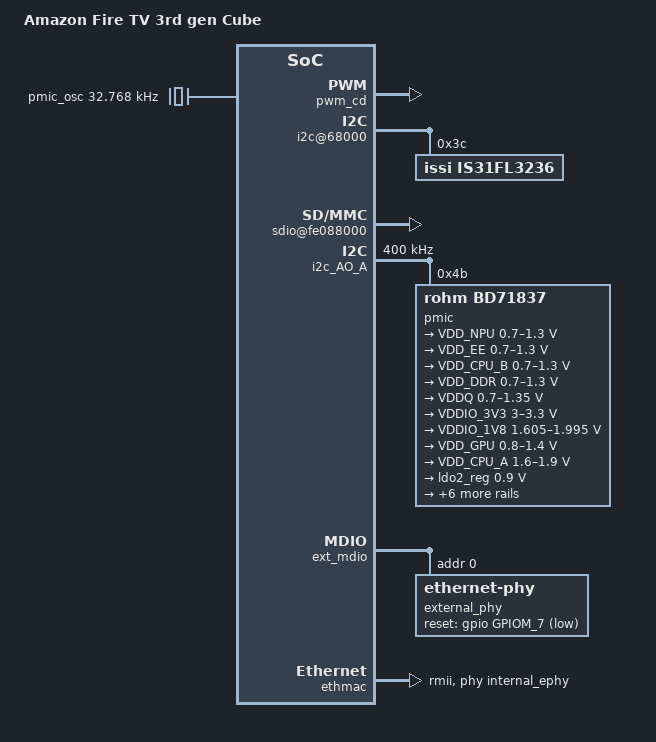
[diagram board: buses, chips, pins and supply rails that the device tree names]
#include "t7_a311d2_an400_drm_hdmitx_only_debian.dts"
#include "coreelec_t7_common.dtsi"

/ {
	model = "Amazon Fire TV 3rd gen Cube";
	coreelec-dt-id = "t7_pop1-g_amazon_3rd_gen_cube";
	amlogic-dt-id = "t7_gazelle_pvt";

	memory@00000000 {
		device_type = "memory";
		linux,usable-memory = <0x00000000 0x00000000 0x00000000 0x80000000>;
	};

	reserved-memory {
		ramoops@0x07400000 {
			reg = <0x00 0x8400000 0x00 0x100000>;
		};

		linux,secmon {
			/delete-property/ size;
			/delete-property/ clear-map;
			/delete-property/ alloc-ranges;
			reg = <0x00 0x5000000 0x00 0x3400000>;
		};

		linux,meson-fb {
			reg = <0x00 0x7f800000 0x00 0x800000>;
		};

		linux,codec_mm_cma {
			/delete-property/ clear-map;
			alloc-ranges = <0x00 0x00 0x00 0x80000000>;
		};

		linux,isp_cma {
			status = "disabled";
			alloc-ranges = <0x00 0x00 0x00 0x80000000>;
		};

		linux,adapt_cma {
			status = "disabled";
			alloc-ranges = <0x00 0x00 0x00 0x80000000>;
		};

		linux,ion-dev {
			alloc-ranges = <0x00 0x00 0x00 0x80000000>;
		};

		linux,ion-fb {
			alloc-ranges = <0x00 0x00 0x00 0x80000000>;
		};

		linux,secure_vdec_reserved {
			alloc-ranges = <0x00 0x00 0x00 0x80000000>;
		};

		linux,vdin1_cma {
			status = "disabled";
			alloc-ranges = <0x00 0x00 0x00 0x80000000>;
		};

		heap-fb {
			size = <0x00 0x1800000>; /* 24 MB */
			alignment = <0x00 0x400000>;
			alloc-ranges = <0x00 0x00 0x00 0x80000000>;
		};

		heap-gfx {
			size = <0x00 0x2000000>; /* 32 MB */
			alignment = <0x00 0x400000>;
			alloc-ranges = <0x00 0x00 0x00 0x80000000>;
		};
	};

	/delete-node/ sdcard-regulator-consumer_3v3;
	/delete-node/ sdcard-regulator-consumer_1v8_3v3;

	pwmao_b-regulator {
		status = "disabled";
	};

	/delete-node/ pwmao_f-regulator;

	pmic_osc: clock-pmic {
		compatible = "fixed-clock";
		#clock-cells = <0>;
		clock-frequency = <32768>;
		clock-output-names = "pmic_osc";
	};

	a73pwm_opp_table0 {
		opp01 {
			opp-hz = /bits/ 64 <666000000>;
		};
	};

	a73pwm_opp_table1 {
		opp01 {
			opp-hz = /bits/ 64 <666000000>;
		};
	};

	a73pwm_opp_table2 {
		opp01 {
			opp-hz = /bits/ 64 <666000000>;
		};
	};

	a73pwm_opp_table3 {
		opp01 {
			opp-hz = /bits/ 64 <666000000>;
		};
	};

	a53pwm_opp_table0 {
		opp01 {
			opp-hz = /bits/ 64 <666000000>;
		};
	};

	a53pwm_opp_table1 {
		opp01 {
			opp-hz = /bits/ 64 <666000000>;
		};
	};

	a53pwm_opp_table2 {
		opp01 {
			opp-hz = /bits/ 64 <666000000>;
		};
	};

	a53pwm_opp_table3 {
		opp01 {
			opp-hz = /bits/ 64 <666000000>;
		};
	};

	a53buck_opp_table0 {
		opp01 {
			opp-hz = /bits/ 64 <666000000>;
		};
	};

	a53buck_opp_table1 {
		opp01 {
			opp-hz = /bits/ 64 <666000000>;
		};
	};

	a53buck_opp_table2 {
		opp01 {
			opp-hz = /bits/ 64 <666000000>;
		};

		opp06 {
			opp-microvolt = <0xc3500>;
		};
	};

	a53buck_opp_table3 {
		opp01 {
			opp-hz = /bits/ 64 <666000000>;
		};
	};

	soc {
		apb4@fe000000 {
			pinctrl@4000 {
				/delete-node/ dvb_s_ts0_pins;
				/delete-node/ dvb_s_ts1_pins;
				/delete-node/ bl_pwm_vs_off_pin;

				pwm_c_pins {
					mux {
						drive-strength-microamp = <0x1f4>;
					};
				};
			};

			pwm_ab: pwm@58000 {
				status = "disabled";
			};

			pwm_cd: pwm@5a000 {
				pinctrl-0 = <&pwm_c_pins>;
				pinctrl-names = "default";
				status = "okay";
			};

			pwmao_ab: pwm@5e000 {
				status = "disabled";
			};

			pwmao_cd: pwm@60000 {
				pinctrl-0 = <&pwm_ao_d_pins &pwm_ao_c_pins2>;
			};

			i2c@68000 {
				status = "okay";

				is31fl3236@3c {
					compatible = "issi,is31fl3236";
					reg = <0x3c>;
					channel-offset = [16];
					rgb_shift = [02];
					#address-cells = <1>;
					#size-cells = <0>;

					led@1 {
						reg = <12>;
						label = "led1";
					};

					led@2 {
						reg = <11>;
						label = "led2";
					};

					led@3 {
						reg = <13>;
						label = "led3";
					};

					led@4 {
						reg = <15>;
						label = "led4";
					};

					led@5 {
						reg = <14>;
						label = "led5";
					};

					led@6 {
						reg = <16>;
						label = "led6";
					};

					led@7 {
						reg = <18>;
						label = "led7";
					};

					led@8 {
						reg = <17>;
						label = "led8";
					};

					led@9 {
						reg = <19>;
						label = "led9";
					};

					led@10 {
						reg = <21>;
						label = "led10";
					};

					led@11 {
						reg = <20>;
						label = "led11";
					};

					led@12 {
						reg = <22>;
						label = "led12";
					};

					led@13 {
						reg = <24>;
						label = "led13";
					};

					led@14 {
						reg = <23>;
						label = "led14";
					};

					led@15 {
						reg = <25>;
						label = "led15";
					};
				};
			};
		};

		mmc@fe08c000 {
			mmc-hs400-1_8v;
		};

		sdio@fe088000 {
			status = "okay";
			/delete-property/ use_intf3_tuning;
		};

		sd@fe08a000 {
			status = "disabled";
			/delete-property/ vmmc-supply;
			/delete-property/ vqmmc-supply;
		};
	};

	aml_wifi {
		interrupt-gpios = <&gpio  GPIOX_6  GPIO_ACTIVE_HIGH>;
		power_on-gpios = <&gpio   GPIOY_14  GPIO_ACTIVE_HIGH>;
	};

	wifi_pwm_conf {
		pwm_channel1_conf {
			pwms = <&pwm_cd  0 30550 0>;
		};

		pwm_channel2_conf {
			pwms = <&pwm_cd 2 30500 0>;
		};
	};

	/delete-node/ bl_pwm_conf;
	/delete-node/ gpio_keypad;
	/delete-node/ bl30_manager;

	meson-remote {
		demod_enable;
	};

	ir_wakeup_key {
		key_num = <0x0c>;
		wakeup_key = <0xb9467d02 0x00 0x74 0xba45bd02 0x00 0x74 0xef10fe01 0x00 0x74 0xef10fb04 0x00 0x74 0xf20dfe01 0x00 0x74 0xe51afb04 0x00 0x74 0xde217788 0x00 0x74 0x3ac5bd02 0x01 0x85 0xb8477788 0x00 0x66 0x9b647788 0x00 0xbc 0x8f707788 0x00 0x1de 0x9c637788 0x00 0xbb>;
	};

	openvfd {
		status = "disabled";
	};

	fb {
		logo_addr = "0x7f800000";
	};
};

&i2c_AO_A {
	clock-frequency = <400000>;
	pinctrl-names = "default";
	pinctrl-0 = <&i2c0_ao_pins1>;
	status = "okay";

	pmic: pmic@4b {
		compatible = "rohm,bd71837";
		reg = <0x4b>;
		clocks = <&pmic_osc>;
		clock-names = "osc";
		clock-output-names = "pmic_clk";
		interrupt-parent = <&gpio_intc>;
		interrupts = <GPIOD_11 GPIO_ACTIVE_LOW>;
		interrupt-names = "irq";
		rohm,reset-snvs-powered;

		regulators {
			VDD_NPU: BUCK1 {
				regulator-name = "VDD_NPU";
				regulator-min-microvolt = <700000>;
				regulator-max-microvolt = <1300000>;
				regulator-boot-on;
				regulator-ramp-delay = <1250>;
				rohm,dvs-run-voltage = <830000>;
				rohm,dvs-idle-voltage = <850000>;
				rohm,dvs-suspend-voltage = <0xc3500>;
				regulator-always-on;
			};

			VDD_EE: BUCK2 {
				regulator-name = "VDD_EE";
				regulator-min-microvolt = <700000>;
				regulator-max-microvolt = <1300000>;
				regulator-boot-on;
				regulator-ramp-delay = <1250>;
				regulator-always-on;
			};

			VDD_CPU_B: BUCK3 {
				regulator-name = "VDD_CPU_B";
				regulator-min-microvolt = <700000>;
				regulator-max-microvolt = <1300000>;
				regulator-boot-on;
				rohm,dvs-run-voltage = <1000000>;
				regulator-always-on;
			};

			VDD_DDR: BUCK4 {
				regulator-name = "VDD_DDR";
				regulator-min-microvolt = <700000>;
				regulator-max-microvolt = <1300000>;
				rohm,dvs-run-voltage = <830000>;
				regulator-always-on;
			};

			VDDQ: BUCK5 {
				regulator-name = "VDDQ";
				regulator-min-microvolt = <700000>;
				regulator-max-microvolt = <1350000>;
				regulator-boot-on;
				regulator-always-on;
			};

			VDDIO_3V3: BUCK6 {
				regulator-name = "VDDIO_3V3";
				regulator-min-microvolt = <3000000>;
				regulator-max-microvolt = <3300000>;
				regulator-boot-on;
				regulator-always-on;
			};

			VDDIO_1V8: BUCK7 {
				regulator-name = "VDDIO_1V8";
				regulator-min-microvolt = <1605000>;
				regulator-max-microvolt = <1995000>;
				regulator-boot-on;
				regulator-always-on;
			};

			VDD_GPU: BUCK8 {
				regulator-name = "VDD_GPU";
				regulator-min-microvolt = <0xc3500>;
				regulator-max-microvolt = <1400000>;
				regulator-boot-on;
				regulator-always-on;
			};

			VDD_CPU_A: LDO1 {
				regulator-name = "VDD_CPU_A";
				regulator-min-microvolt = <1600000>;
				regulator-max-microvolt = <1900000>;
				regulator-boot-on;
				regulator-always-on;
			};

			ldo2_reg: LDO2 {
				regulator-name = "ldo2";
				regulator-min-microvolt = <900000>;
				regulator-max-microvolt = <900000>;
			};

			VDDAO_1V8: LDO3 {
				regulator-name = "VDDAO_1V8";
				regulator-min-microvolt = <1800000>;
				regulator-max-microvolt = <3300000>;
				regulator-boot-on;
				regulator-always-on;
			};

			CAMERA_VDD: LDO4 {
				regulator-name = "CAMERA_VDD";
				regulator-min-microvolt = <900000>;
				regulator-max-microvolt = <1800000>;
			};

			WIFI_BT_VIO: LDO5 {
				regulator-name = "WIFI_BT_VIO";
				regulator-min-microvolt = <1800000>;
				regulator-max-microvolt = <3300000>;
			};

			BUCK8_EXT: LDO6 {
				regulator-name = "BUCK8_EXT";
				regulator-min-microvolt = <900000>;
				regulator-max-microvolt = <1800000>;
				regulator-boot-on;
				regulator-always-on;
			};

			TOUCH_AVDD: LDO7 {
				regulator-name = "TOUCH_AVDD";
				regulator-min-microvolt = <1800000>;
				regulator-max-microvolt = <3300000>;
			};

			BACKLIGHT: MUXSW_EN {
				regulator-name = "BACKLIGHT";
				regulator-min-microvolt = <1800000>;
				regulator-max-microvolt = <1800000>;
				regulator-always-on;
			};
		};
	};
};


&ext_mdio {
	external_phy: ethernet-phy@0 {
		reg = <0>;
		max-speed = <1000>;
		reset-assert-us = <20000>;
		reset-deassert-us = <50000>;
		reset-gpios = <&gpio GPIOM_7 (GPIO_ACTIVE_LOW |GPIO_OPEN_DRAIN)>;
		interrupt-parent = <&gpio_intc>;
		interrupts = <340 IRQ_TYPE_LEVEL_LOW>;
	};
};


&ethmac {
	status = "okay";
	phy-handle = <&internal_ephy>;
	phy-mode = "rmii";
};

&aml_bt {
	status = "disabled";
	reset-gpios = <&gpio    GPIOX_17 GPIO_ACTIVE_HIGH>;
	hostwake-gpios = <&gpio GPIOX_19 GPIO_ACTIVE_HIGH>;
};

&periphs_pinctrl {
	i2c1_pins1:i2c1_pins1 {
		mux {
			drive-strength-microamp = <500>;
		};
	};

	i2c2_pins2:i2c2_pins2 {
		mux {
			drive-strength-microamp = <500>;
		};
	};

	i2c3_pins2:i2c3_pins2 {
		mux {
			drive-strength-microamp = <500>;
		};
	};

	i2c2_pins3:i2c2_pins3 {
		mux {
			drive-strength-microamp = <500>;
		};
	};

	i2c0_ao_pins1:i2c0_ao_pins1 {
		mux {
			drive-strength-microamp = <500>;
		};
	};
};

&CPU4 {
	cpu-supply = <&VDD_CPU_B>;
	cpu_reg_use_buck;
	operating-points-v2 = <&a53buck_opp_table0>,
		<&a53buck_opp_table1>,
		<&a53buck_opp_table2>,
		<&a53buck_opp_table3>;
};

&CPU5 {
	cpu-supply = <&VDD_CPU_B>;
	cpu_reg_use_buck;
	operating-points-v2 = <&a53buck_opp_table0>,
		<&a53buck_opp_table1>,
		<&a53buck_opp_table2>,
		<&a53buck_opp_table3>;
};

&CPU6 {
	cpu-supply = <&VDD_CPU_B>;
	cpu_reg_use_buck;
	operating-points-v2 = <&a53buck_opp_table0>,
		<&a53buck_opp_table1>,
		<&a53buck_opp_table2>,
		<&a53buck_opp_table3>;
};

&CPU7 {
	cpu-supply = <&VDD_CPU_B>;
	cpu_reg_use_buck;
	operating-points-v2 = <&a53buck_opp_table0>,
		<&a53buck_opp_table1>,
		<&a53buck_opp_table2>,
		<&a53buck_opp_table3>;
};

&crg3_drd {
	compatible = "amlogic, crg-host-drd";
	status = "disable";
};

&crg_phy_20 {
	status = "disable";
	portnum = <1>;
	gpio-vbus-power = "GPIOM_8";
	gpios = <&gpio GPIOM_8 GPIO_ACTIVE_HIGH>;
};

&crg3_phy_20 {
	status = "disable";
	portnum = <1>;
};

&pcie {
	reset-gpio = <&gpio GPIOH_3 GPIO_ACTIVE_HIGH>;
	status = "disable";
};
